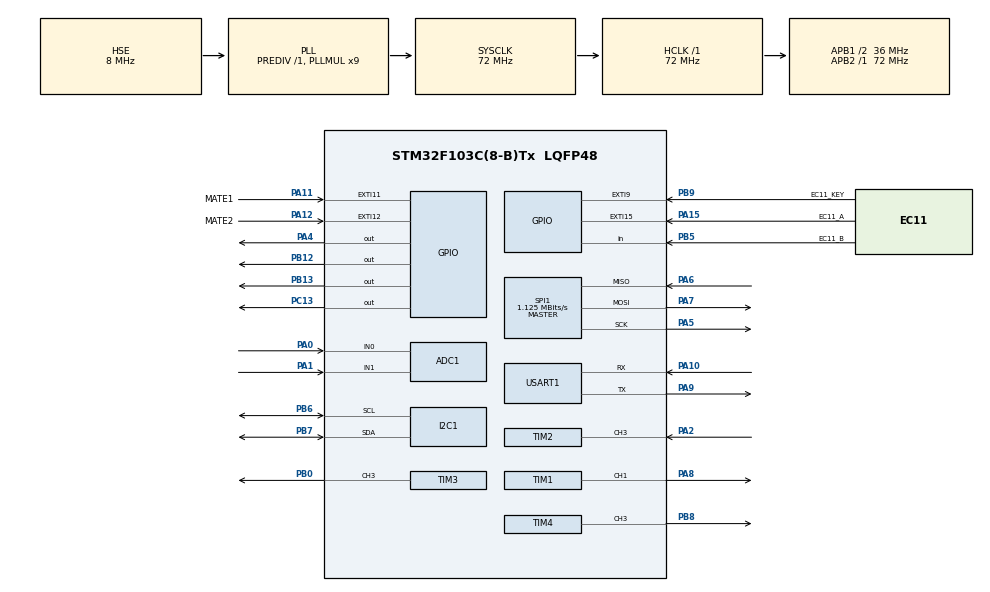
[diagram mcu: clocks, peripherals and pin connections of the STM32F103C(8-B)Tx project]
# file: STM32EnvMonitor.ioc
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ADC1.Channel-0\#ChannelRegularConversion=ADC_CHANNEL_0
ADC1.Channel-1\#ChannelRegularConversion=ADC_CHANNEL_1
ADC1.NbrOfConversion=2
ADC1.NbrOfConversionFlag=1
ADC1.Rank-0\#ChannelRegularConversion=1
ADC1.Rank-1\#ChannelRegularConversion=2
ADC1.SamplingTime-0\#ChannelRegularConversion=ADC_SAMPLETIME_1CYCLE_5
ADC1.SamplingTime-1\#ChannelRegularConversion=ADC_SAMPLETIME_1CYCLE_5
ADC1.master=1
FREERTOS.Tasks01=defaultTask,24,128,StartDefaultTask,Default,NULL,Dynamic,NULL,NULL
Mcu.Family=STM32F1
Mcu.Name=STM32F103C(8-B)Tx
Mcu.Package=LQFP48
NVIC.EXTI15_10_IRQn=true\:5\:0\:false\:false\:true\:true\:true\:true\:true
NVIC.EXTI9_5_IRQn=true\:5\:0\:false\:false\:true\:true\:true\:true\:true
NVIC.PriorityGroup=NVIC_PRIORITYGROUP_4
NVIC.TIM2_IRQn=true\:5\:0\:false\:false\:true\:true\:true\:true\:true
NVIC.USART1_IRQn=true\:5\:0\:false\:false\:true\:true\:true\:true\:true
PA0-WKUP.Signal=ADCx_IN0
PA1.Signal=ADCx_IN1
PA10.Mode=Asynchronous
PA10.Signal=USART1_RX
PA11.GPIO_Label=MATE1
PA11.GPIO_ModeDefaultEXTI=GPIO_MODE_IT_FALLING
PA11.Signal=GPXTI11
PA12.GPIO_Label=MATE2
PA12.GPIO_ModeDefaultEXTI=GPIO_MODE_IT_FALLING
PA12.Signal=GPXTI12
PA13.Mode=Serial_Wire
PA13.Signal=SYS_JTMS-SWDIO
PA14.Mode=Serial_Wire
PA14.Signal=SYS_JTCK-SWCLK
PA15.GPIO_Label=EC11_A
PA15.GPIO_ModeDefaultEXTI=GPIO_MODE_IT_RISING_FALLING
PA15.Signal=GPXTI15
PA2.Signal=S_TIM2_CH3
PA4.PinState=GPIO_PIN_SET
PA4.Signal=GPIO_Output
PA5.Mode=Full_Duplex_Master
PA5.Signal=SPI1_SCK
PA6.Mode=Full_Duplex_Master
PA6.Signal=SPI1_MISO
PA7.Mode=Full_Duplex_Master
PA7.Signal=SPI1_MOSI
PA8.Signal=S_TIM1_CH1
PA9.Mode=Asynchronous
PA9.Signal=USART1_TX
PB0.Signal=S_TIM3_CH3
PB12.Signal=GPIO_Output
PB13.Signal=GPIO_Output
PB5.GPIO_Label=EC11_B
PB5.Signal=GPIO_Input
PB6.Mode=I2C
PB6.Signal=I2C1_SCL
PB7.Mode=I2C
PB7.Signal=I2C1_SDA
PB8.Signal=S_TIM4_CH3
PB9.GPIO_Label=EC11_KEY
PB9.GPIO_ModeDefaultEXTI=GPIO_MODE_IT_FALLING
PB9.Signal=GPXTI9
PC13-TAMPER-RTC.Signal=GPIO_Output
PD0-OSC_IN.Mode=HSE-External-Oscillator
PD0-OSC_IN.Signal=RCC_OSC_IN
PD1-OSC_OUT.Mode=HSE-External-Oscillator
PD1-OSC_OUT.Signal=RCC_OSC_OUT
ProjectManager.HeapSize=0x200
ProjectManager.StackSize=0x400
ProjectManager.TargetToolchain=MDK-ARM V5
RCC.AHBFreq_Value=72000000
RCC.APB1CLKDivider=RCC_HCLK_DIV2
RCC.APB1Freq_Value=36000000
RCC.APB1TimFreq_Value=72000000
RCC.APB2Freq_Value=72000000
RCC.APB2TimFreq_Value=72000000
RCC.HCLKFreq_Value=72000000
RCC.PLLMUL=RCC_PLL_MUL9
RCC.PLLSourceVirtual=RCC_PLLSOURCE_HSE
RCC.SYSCLKFreq_VALUE=72000000
RCC.SYSCLKSource=RCC_SYSCLKSOURCE_PLLCLK
RCC.USBFreq_Value=72000000
SH.ADCx_IN0.0=ADC1_IN0,IN0
SH.ADCx_IN1.0=ADC1_IN1,IN1
SH.S_TIM1_CH1.0=TIM1_CH1,PWM Generation1 CH1
SH.S_TIM2_CH3.0=TIM2_CH3,Input_Capture3_from_TI3
SH.S_TIM3_CH3.0=TIM3_CH3,PWM Generation3 CH3
SH.S_TIM4_CH3.0=TIM4_CH3,PWM Generation3 CH3
SPI1.BaudRatePrescaler=SPI_BAUDRATEPRESCALER_64
SPI1.CalculateBaudRate=1.125 MBits/s
SPI1.Direction=SPI_DIRECTION_2LINES
SPI1.Mode=SPI_MODE_MASTER
SPI1.VirtualType=VM_MASTER
TIM1.Channel-PWM\ Generation1\ CH1=TIM_CHANNEL_1
TIM1.Period=499
TIM1.Prescaler=71
TIM2.Channel-Input_Capture3_from_TI3=TIM_CHANNEL_3
TIM2.Prescaler=71
TIM3.Channel-PWM\ Generation3\ CH3=TIM_CHANNEL_3
TIM3.Period=7199
TIM4.Channel-PWM\ Generation3\ CH3=TIM_CHANNEL_3
TIM4.Period=19999
TIM4.Prescaler=71
USART1.VirtualMode=VM_ASYNC
VP_FREERTOS_VS_CMSIS_V2.Mode=CMSIS_V2
VP_TIM1_VS_ClockSourceINT.Mode=Internal
board=custom

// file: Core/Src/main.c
/* USER CODE BEGIN Header */
/**
  ******************************************************************************
  * @file           : main.c
  * @brief          : Main program body
  ******************************************************************************
  * @attention
  *
  * Copyright (c) 2026 STMicroelectronics.
  * All rights reserved.
  *
  * This software is licensed under terms that can be found in the LICENSE file
  * in the root directory of this software component.
  * If no LICENSE file comes with this software, it is provided AS-IS.
  *
  ******************************************************************************
  */
/* USER CODE END Header */
#include "main.h"
#include "cmsis_os.h"
#include "adc.h"
#include "i2c.h"
#include "spi.h"
#include "tim.h"
#include "usart.h"
#include "gpio.h"

/* USER CODE BEGIN Includes */
#include "bsp_sensor.h"
#include "bsp_mpu6050.h"
#include "bsp_w25q.h"
#include "bsp_pwm.h"
#include "bsp_speed.h"
#include "bsp_input.h"
#include "bsp_oled.h"
#include "globals.h"
#include <stdio.h>

/* USER CODE END Includes */

void SystemClock_Config(void);
void MX_FREERTOS_Init(void);

int main(void)
{

  /* MCU Configuration--------------------------------------------------------*/

  /* Reset of all peripherals, Initializes the Flash interface and the Systick. */
  HAL_Init();

  /* Configure the system clock */
  SystemClock_Config();

  /* Initialize all configured peripherals */
  MX_GPIO_Init();
  MX_USART1_UART_Init();
  MX_ADC1_Init();
  MX_I2C1_Init();
  MX_SPI1_Init();
  MX_TIM1_Init();
  MX_TIM3_Init();
  MX_TIM4_Init();
  MX_TIM2_Init();
  /* USER CODE BEGIN 2 */
  HAL_Delay(200);  /* wait for OLED/MPU6050 power-on */
  oled_init();
  oled_clear();
  oled_string(0, "T:25.0C");
  mpu_init();
  param_load();
  speed_init();
  HAL_UART_Receive_IT(&huart1, &rx_byte, 1);
  /* USER CODE END 2 */

  /* Init scheduler */
  osKernelInitialize();  /* Call init function for freertos objects (in cmsis_os2.c) */
  MX_FREERTOS_Init();

  /* Start scheduler */
  osKernelStart();

  /* We should never get here as control is now taken by the scheduler */

  /* Infinite loop */
  while (1)
  {

  }
}

void SystemClock_Config(void)
{
  RCC_OscInitTypeDef RCC_OscInitStruct = {0};
  RCC_ClkInitTypeDef RCC_ClkInitStruct = {0};
  RCC_PeriphCLKInitTypeDef PeriphClkInit = {0};

  /** Initializes the RCC Oscillators according to the specified parameters
  * in the RCC_OscInitTypeDef structure.
  */
  RCC_OscInitStruct.OscillatorType = RCC_OSCILLATORTYPE_HSE;
  RCC_OscInitStruct.HSEState = RCC_HSE_ON;
  RCC_OscInitStruct.HSEPredivValue = RCC_HSE_PREDIV_DIV1;
  RCC_OscInitStruct.HSIState = RCC_HSI_ON;
  RCC_OscInitStruct.PLL.PLLState = RCC_PLL_ON;
  RCC_OscInitStruct.PLL.PLLSource = RCC_PLLSOURCE_HSE;
  RCC_OscInitStruct.PLL.PLLMUL = RCC_PLL_MUL9;
  if (HAL_RCC_OscConfig(&RCC_OscInitStruct) != HAL_OK)
  {
    Error_Handler();
  }

  /** Initializes the CPU, AHB and APB buses clocks
  */
  RCC_ClkInitStruct.ClockType = RCC_CLOCKTYPE_HCLK|RCC_CLOCKTYPE_SYSCLK
                              |RCC_CLOCKTYPE_PCLK1|RCC_CLOCKTYPE_PCLK2;
  RCC_ClkInitStruct.SYSCLKSource = RCC_SYSCLKSOURCE_PLLCLK;
  RCC_ClkInitStruct.AHBCLKDivider = RCC_SYSCLK_DIV1;
  RCC_ClkInitStruct.APB1CLKDivider = RCC_HCLK_DIV2;
  RCC_ClkInitStruct.APB2CLKDivider = RCC_HCLK_DIV1;

  if (HAL_RCC_ClockConfig(&RCC_ClkInitStruct, FLASH_LATENCY_2) != HAL_OK)
  {
    Error_Handler();
  }
  PeriphClkInit.PeriphClockSelection = RCC_PERIPHCLK_ADC;
  PeriphClkInit.AdcClockSelection = RCC_ADCPCLK2_DIV6;
  if (HAL_RCCEx_PeriphCLKConfig(&PeriphClkInit) != HAL_OK)
  {
    Error_Handler();
  }
}

void Error_Handler(void)
{
  __disable_irq();
  while (1)
  {
  }
}

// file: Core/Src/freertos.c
/* USER CODE BEGIN Header */
/**
  ******************************************************************************
  * File Name          : freertos.c
  * Description        : Code for freertos applications
  ******************************************************************************
  * @attention
  *
  * Copyright (c) 2026 STMicroelectronics.
  * All rights reserved.
  *
  * This software is licensed under terms that can be found in the LICENSE file
  * in the root directory of this software component.
  * If no LICENSE file comes with this software, it is provided AS-IS.
  *
  ******************************************************************************
  */
/* USER CODE END Header */

#include "FreeRTOS.h"
#include "task.h"
#include "main.h"
#include "cmsis_os.h"

/* USER CODE BEGIN Includes */
#include "globals.h"
/* USER CODE END Includes */

/* Definitions for defaultTask */
osThreadId_t defaultTaskHandle;
const osThreadAttr_t defaultTask_attributes = {
  .name = "defaultTask",
  .stack_size = 128 * 4,
  .priority = (osPriority_t) osPriorityNormal,
};

void StartDefaultTask(void *argument);

void MX_FREERTOS_Init(void); /* (MISRA C 2004 rule 8.1) */

void MX_FREERTOS_Init(void) {

  /* Create the thread(s) */
  /* creation of defaultTask */
  defaultTaskHandle = osThreadNew(StartDefaultTask, NULL, &defaultTask_attributes);

  /* USER CODE BEGIN RTOS_THREADS */
  /* add threads, ... */
  app_init();
  /* USER CODE END RTOS_THREADS */

}

void StartDefaultTask(void *argument)
{
  for(;;)
  {
    osDelay(1);
  }
}
